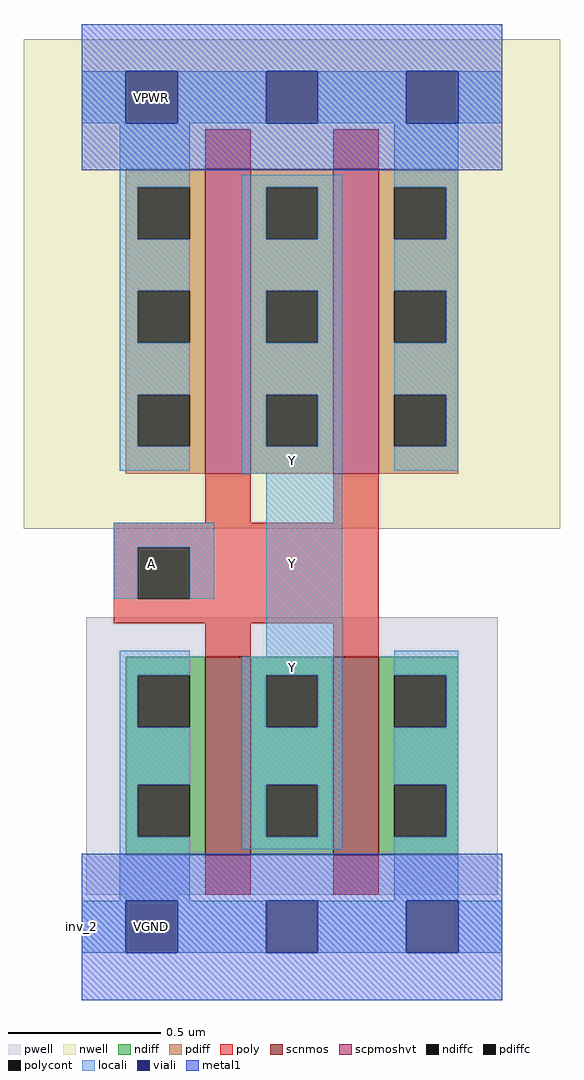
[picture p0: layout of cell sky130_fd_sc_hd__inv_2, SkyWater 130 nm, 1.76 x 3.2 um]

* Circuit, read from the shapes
.subckt sky130_fd_sc_hd__inv_2 VPWR VGND VPB VNB Y A
XM1 Y A VGND VNB sky130_fd_pr__nfet_01v8 w=0.65 l=0.15 m=2
XM2 Y A VPWR VPB sky130_fd_pr__pfet_01v8_hvt w=1 l=0.15 m=2
.ends

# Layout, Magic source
magic
tech sky130B
magscale 1 2
<< nwell >>
rect -38 221 314 542
<< pwell >>
rect 3 -19 273 163
rect 29 -57 63 -19
<< scnmos >>
rect 81 7 111 137
rect 165 7 195 137
<< scpmoshvt >>
rect 81 257 111 457
rect 165 257 195 457
<< ndiff >>
rect 29 125 81 137
rect 29 91 37 125
rect 71 91 81 125
rect 29 53 81 91
rect 29 19 37 53
rect 71 19 81 53
rect 29 7 81 19
rect 111 125 165 137
rect 111 91 121 125
rect 155 91 165 125
rect 111 53 165 91
rect 111 19 121 53
rect 155 19 165 53
rect 111 7 165 19
rect 195 125 247 137
rect 195 91 205 125
rect 239 91 247 125
rect 195 53 247 91
rect 195 19 205 53
rect 239 19 247 53
rect 195 7 247 19
<< pdiff >>
rect 29 445 81 457
rect 29 411 37 445
rect 71 411 81 445
rect 29 377 81 411
rect 29 343 37 377
rect 71 343 81 377
rect 29 309 81 343
rect 29 275 37 309
rect 71 275 81 309
rect 29 257 81 275
rect 111 445 165 457
rect 111 411 121 445
rect 155 411 165 445
rect 111 377 165 411
rect 111 343 121 377
rect 155 343 165 377
rect 111 309 165 343
rect 111 275 121 309
rect 155 275 165 309
rect 111 257 165 275
rect 195 445 247 457
rect 195 411 205 445
rect 239 411 247 445
rect 195 377 247 411
rect 195 343 205 377
rect 239 343 247 377
rect 195 309 247 343
rect 195 275 205 309
rect 239 275 247 309
rect 195 257 247 275
<< ndiffc >>
rect 37 91 71 125
rect 37 19 71 53
rect 121 91 155 125
rect 121 19 155 53
rect 205 91 239 125
rect 205 19 239 53
<< pdiffc >>
rect 37 411 71 445
rect 37 343 71 377
rect 37 275 71 309
rect 121 411 155 445
rect 121 343 155 377
rect 121 275 155 309
rect 205 411 239 445
rect 205 343 239 377
rect 205 275 239 309
<< poly >>
rect 81 457 111 483
rect 165 457 195 483
rect 81 225 111 257
rect 165 225 195 257
rect 21 209 195 225
rect 21 175 37 209
rect 71 175 195 209
rect 21 159 195 175
rect 81 137 111 159
rect 165 137 195 159
rect 81 -19 111 7
rect 165 -19 195 7
<< polycont >>
rect 37 175 71 209
<< locali >>
rect 0 487 29 521
rect 63 487 121 521
rect 155 487 213 521
rect 247 487 276 521
rect 25 445 71 487
rect 25 411 37 445
rect 25 377 71 411
rect 25 343 37 377
rect 25 309 71 343
rect 25 275 37 309
rect 25 259 71 275
rect 105 445 171 453
rect 105 411 121 445
rect 155 411 171 445
rect 105 377 171 411
rect 105 343 121 377
rect 155 343 171 377
rect 105 309 171 343
rect 105 275 121 309
rect 155 275 171 309
rect 105 257 171 275
rect 205 445 247 487
rect 239 411 247 445
rect 205 377 247 411
rect 239 343 247 377
rect 205 309 247 343
rect 239 275 247 309
rect 205 259 247 275
rect 21 209 87 225
rect 21 175 37 209
rect 71 175 87 209
rect 25 125 71 141
rect 121 137 171 257
rect 25 91 37 125
rect 25 53 71 91
rect 25 19 37 53
rect 25 -23 71 19
rect 105 125 171 137
rect 105 91 121 125
rect 155 91 171 125
rect 105 53 171 91
rect 105 19 121 53
rect 155 19 171 53
rect 105 11 171 19
rect 205 125 247 141
rect 239 91 247 125
rect 205 53 247 91
rect 239 19 247 53
rect 205 -23 247 19
rect 0 -57 29 -23
rect 63 -57 121 -23
rect 155 -57 213 -23
rect 247 -57 276 -23
<< viali >>
rect 29 487 63 521
rect 121 487 155 521
rect 213 487 247 521
rect 29 -57 63 -23
rect 121 -57 155 -23
rect 213 -57 247 -23
<< metal1 >>
rect 0 521 276 552
rect 0 487 29 521
rect 63 487 121 521
rect 155 487 213 521
rect 247 487 276 521
rect 0 456 276 487
rect 0 -23 276 8
rect 0 -57 29 -23
rect 63 -57 121 -23
rect 155 -57 213 -23
rect 247 -57 276 -23
rect 0 -88 276 -57
<< labels >>
rlabel comment s 0 -40 0 -40 4 inv_2
flabel metal1 s 29 487 63 521 0 FreeSans 200 0 0 0 VPWR
port 2 nsew
flabel metal1 s 29 -57 63 -23 0 FreeSans 200 0 0 0 VGND
port 3 nsew
flabel nwell s 29 487 63 521 0 FreeSans 200 0 0 0 VPB
port 5 nsew
flabel pwell s 29 -57 63 -23 0 FreeSans 200 0 0 0 VNB
port 6 nsew
flabel locali s 29 181 63 215 0 FreeSans 340 0 0 0 A
port 8 nsew
flabel locali s 121 113 155 147 0 FreeSans 340 0 0 0 Y
port 7 nsew
flabel locali s 121 249 155 283 0 FreeSans 340 0 0 0 Y
port 7 nsew
flabel locali s 121 181 155 215 0 FreeSans 340 0 0 0 Y
port 7 nsew
<< properties >>
string FIXED_BBOX 0 -40 276 504
string path 0.000 -1.000 6.900 -1.000 
<< end >>
